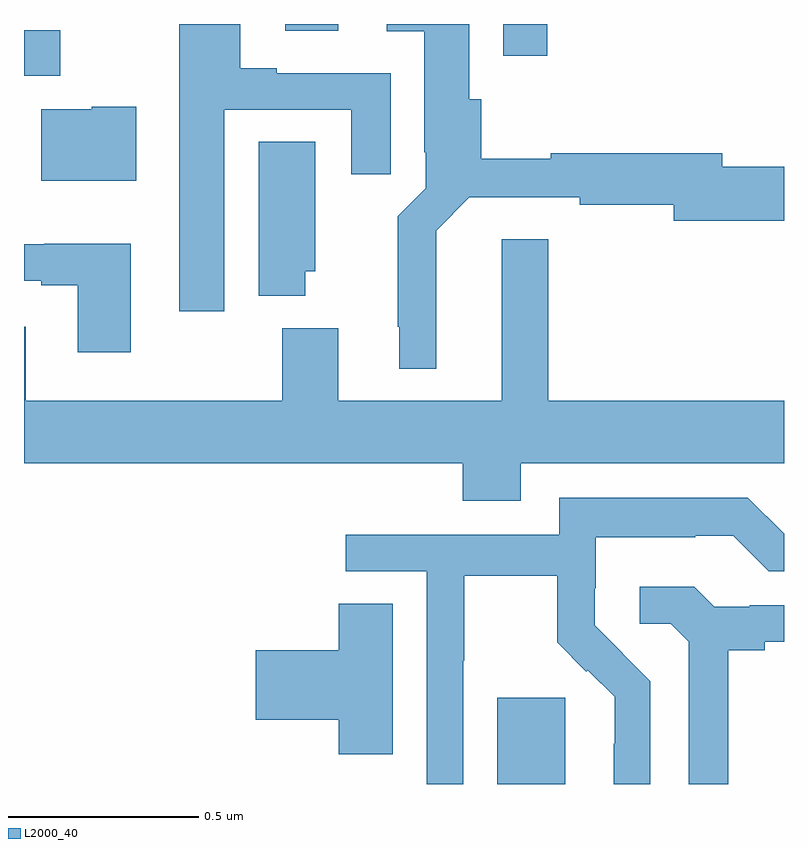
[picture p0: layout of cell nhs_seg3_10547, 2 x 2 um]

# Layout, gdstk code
import gdstk
lib = gdstk.Library(unit=1e-6, precision=1e-09)
def R(c, l, rs):  # rectangles x0, y0, x1, y1
    for r in rs: c.add(gdstk.rectangle(r[:2], r[2:], *l))
def P(c, l, *ps):  # polygons
    for p in ps: c.add(gdstk.Polygon(p, *l))
L2000_40 = (2000, 40)

nhs_seg3_10547 = lib.new_cell('nhs_seg3_10547')
R(nhs_seg3_10547, L2000_40, [(243.245,705.4,243.424,705.627), (242,707.264,242.096,707.383), (243.261,707.316,243.377,707.4), (242.687,707.382,242.827,707.4)])
P(nhs_seg3_10547, L2000_40, [(242.527,707.175),(242.861,707.175),(242.861,707.004),(242.965,707.004),(242.965,707.271),(242.665,707.271),(242.665,707.284),(242.569,707.284),(242.569,707.4),(242.408,707.4),(242.408,706.644),(242.527,706.644)],
  [(243.085,706.856),(243.172,706.944),(243.463,706.944),(243.463,706.924),(243.71,706.924),(243.71,706.882),(244,706.882),(244,707.024),(243.838,707.024),(243.838,707.06),(243.386,707.06),(243.386,707.045),(243.203,707.045),(243.203,707.202),(243.172,707.202),(243.172,707.4),(242.955,707.4),(242.955,707.381),(243.053,707.381),(243.053,707.062),(243.057,707.062),(243.057,706.968),(242.983,706.894),(242.983,706.603),(242.987,706.603),(242.987,706.493),(243.085,706.493)],
  [(242.296,707.182),(242.178,707.182),(242.178,707.176),(242.045,707.176),(242.045,706.988),(242.296,706.988)],
  [(242.74,706.749),(242.767,706.749),(242.767,707.09),(242.618,707.09),(242.618,706.685),(242.74,706.685)],
  [(243.307,706.244),(244,706.244),(244,706.408),(243.38,706.408),(243.38,706.834),(243.257,706.834),(243.257,706.408),(242.827,706.408),(242.827,706.6),(242.68,706.6),(242.68,706.408),(242.005,706.408),(242.005,706.603),(242,706.603),(242,706.244),(243.155,706.244),(243.155,706.145),(243.307,706.145)],
  [(242.281,706.822),(242.053,706.822),(242.053,706.821),(242,706.821),(242,706.725),(242.045,706.725),(242.045,706.713),(242.141,706.713),(242.141,706.536),(242.281,706.536)],
  [(243.156,705.724),(243.159,705.724),(243.159,705.948),(243.403,705.948),(243.403,705.773),(243.48,705.696),(243.483,705.699),(243.554,705.629),(243.554,705.506),(243.552,705.506),(243.552,705.4),(243.648,705.4),(243.648,705.67),(243.575,705.743),(243.576,705.744),(243.502,705.818),(243.502,705.915),(243.504,705.915),(243.504,706.049),(243.767,706.049),(243.767,706.053),(243.867,706.053),(243.96,705.96),(244,705.96),(244,706.058),(243.905,706.153),(243.408,706.153),(243.408,706.056),(242.847,706.056),(242.847,705.96),(243.06,705.96),(243.06,705.4),(243.156,705.4)],
  [(243.853,705.752),(243.949,705.752),(243.949,705.774),(244,705.774),(244,705.87),(243.91,705.87),(243.91,705.867),(243.816,705.867),(243.764,705.919),(243.621,705.919),(243.621,705.822),(243.702,705.822),(243.749,705.775),(243.749,705.4),(243.853,705.4)],
  [(242.971,705.875),(242.828,705.875),(242.828,705.752),(242.61,705.752),(242.61,705.569),(242.828,705.569),(242.828,705.478),(242.971,705.478)])

lib.write_gds('nhs_seg3_10547.gds')
